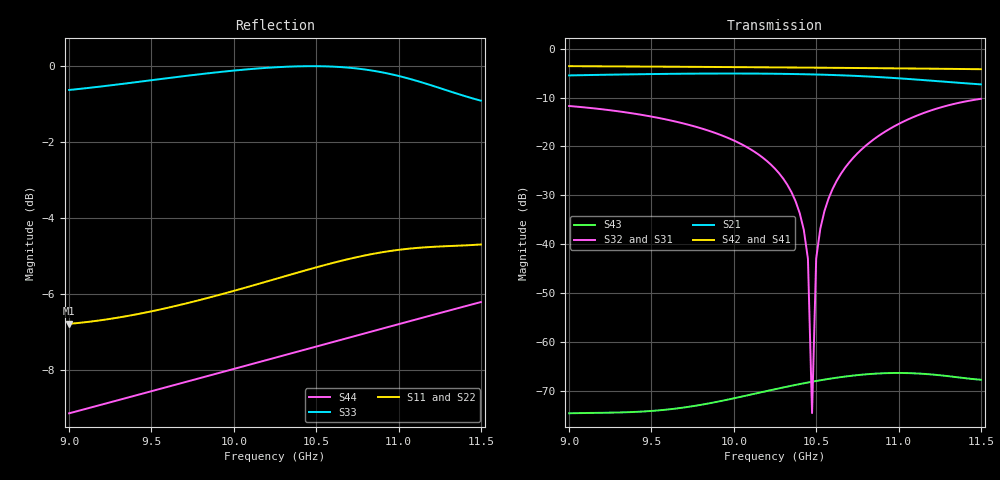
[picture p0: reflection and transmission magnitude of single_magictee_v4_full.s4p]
! Generated from PyAEDT SolutionData; AEDT ExportNetworkData workaround
# GHz S MA R 50
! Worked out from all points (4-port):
!   101 points, 9 GHz to 11.5 GHz, reference 50 ohm
!   strongest paths, dB at 9 GHz, 9.625 GHz, 10.25 GHz, 10.88 GHz, 11.5 GHz:
!     S42: -3.6, -3.7, -3.8, -4.0, -4.2
!     S41: -3.6, -3.7, -3.8, -4.0, -4.2
!     S21: -5.5, -5.1, -5.1, -5.8, -7.3
!     S32: -11.7, -14.7, -24.6, -17.9, -10.3
!     S31: -11.7, -14.8, -24.6, -17.9, -10.2
!     S43: -74.6, -73.7, -69.7, -66.5, -67.8
!   lowest |S11| = -6.8 dB at 9 GHz (marker M1), VSWR 2.69, Z = 24.8 + j26.2 ohm
!   |S11| at or under -10 dB: nowhere
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9  0.4579 114.5  0.5331 154.9  0.2592 -100.0  0.6625 47.3
   0.5331 154.9  0.4576 114.5  0.2592 -99.9  0.6627 -132.7
   0.2592 -100.0  0.2592 -99.9  0.9304 -156.2  0.0001857 -60.2
   0.6625 47.3  0.6627 -132.7  0.0001857 -60.2  0.3491 -118.5
9.525  0.4769 50.1  0.5509 92.1  0.1983 166.2  0.6556 -12.0
       0.5509 92.1  0.4768 50.1  0.1984 166.2  0.6557 168.0
       0.1983 166.2  0.1984 166.2  0.9599 79.7  0.0001978 -152.3
       0.6556 -12.0  0.6557 168.0  0.0001978 -152.3  0.3746 -174.5
10.275  0.5263 -42.3  0.5535 2.8  0.05295 33.0  0.6433 -92.6
        0.5535 2.8  0.5259 -42.2  0.05305 33.3  0.6437 87.5
        0.05295 33.0  0.05305 33.3  0.9972 -94.6  0.0003344 87.4
        0.6433 -92.6  0.6437 87.5  0.0003344 87.4  0.4146 108.1
10.475  0.5415 -67.2  0.5457 -21.1  0.0002025 -118.5  0.6395 -113.5
        0.5457 -21.1  0.5409 -67.2  0.0001866 76.2  0.64 66.6
        0.0002025 -118.5  0.0001866 76.2  1 -142.5  0.0003908 51.0
        0.6395 -113.5  0.64 66.6  0.0003908 51.0  0.426 87.8
10.625  0.5524 -86.1  0.5364 -39.0  0.0447 149.0  0.6365 -129.0
        0.5364 -39.0  0.5517 -86.1  0.04457 148.5  0.6371 51.0
        0.0447 149.0  0.04457 148.5  0.998 -179.7  0.00043 22.6
        0.6365 -129.0  0.6371 51.0  0.00043 22.6  0.4347 72.7
11  0.573 -133.4  0.4979 -83.5  0.1697 75.7  0.6284 -167.5
    0.4979 -83.5  0.5722 -133.5  0.1695 75.5  0.6292 12.5
    0.1697 75.7  0.1695 75.5  0.9708 81.6  0.0004805 -49.9
    0.6284 -167.5  0.6292 12.5  0.0004805 -49.9  0.4574 35.0
11.5  0.5825 165.2  0.4315 -139.6  0.3074 -25.7  0.6165 141.7
      0.4315 -139.6  0.5821 165.1  0.307 -25.8  0.617 -38.3
      0.3074 -25.7  0.307 -25.8  0.9007 -59.8  0.0004097 -131.7
      0.6165 141.7  0.617 -38.3  0.0004097 -131.7  0.4892 -15.2
